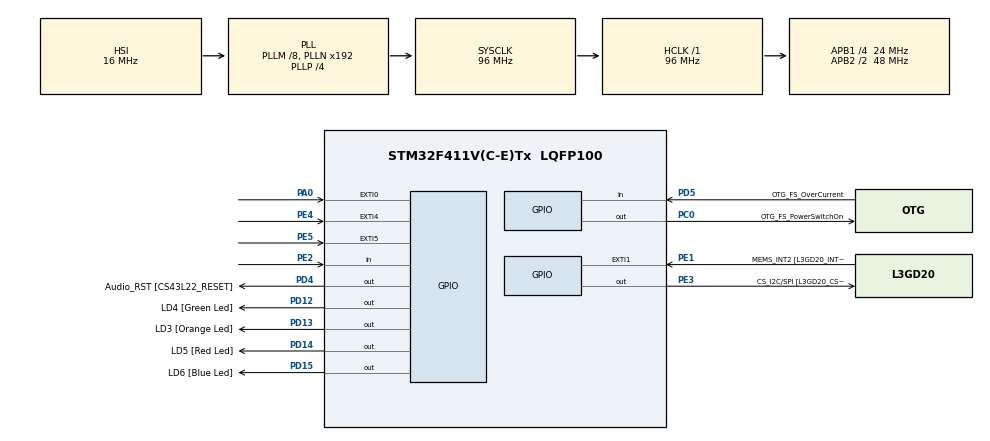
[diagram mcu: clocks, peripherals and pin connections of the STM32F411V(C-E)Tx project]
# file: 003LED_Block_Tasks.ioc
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Mcu.Family=STM32F4
Mcu.Name=STM32F411V(C-E)Tx
Mcu.Package=LQFP100
NVIC.PriorityGroup=NVIC_PRIORITYGROUP_4
NVIC.TIM5_IRQn=true\:0\:0\:false\:false\:true\:false\:true\:true
NVIC.TimeBase=TIM5_IRQn
NVIC.TimeBaseIP=TIM5
PA0-WKUP.GPIO_ModeDefaultEXTI=GPIO_MODE_EVT_RISING
PA0-WKUP.Signal=GPXTI0
PA10.GPIO_Label=OTG_FS_ID
PA10.Signal=USB_OTG_FS_ID
PA11.GPIO_Label=OTG_FS_DM
PA11.Signal=USB_OTG_FS_DM
PA12.GPIO_Label=OTG_FS_DP
PA12.Signal=USB_OTG_FS_DP
PA13.GPIO_Label=SWDIO
PA13.Signal=SYS_JTMS-SWDIO
PA14.GPIO_Label=SWCLK
PA14.Signal=SYS_JTCK-SWCLK
PA4.GPIO_Label=I2S3_WS [CS43L22_LRCK]
PA4.GPIO_Mode=GPIO_MODE_AF_PP
PA4.GPIO_PuPd=GPIO_NOPULL
PA4.GPIO_Speed=GPIO_SPEED_FREQ_LOW
PA4.Signal=I2S3_WS
PA5.GPIO_Label=SPI1_SCK [L3GD20_SC/SPC]
PA5.Signal=SPI1_SCK
PA6.GPIO_Label=SPI1_MISO [L3GD20_AS0/SDO]
PA6.Signal=SPI1_MISO
PA7.GPIO_Label=SPI1_MOSI [L3GD20_SDA/SDI/SDO]
PA7.Signal=SPI1_MOSI
PA9.GPIO_Label=VBUS_FS
PA9.Signal=USB_OTG_FS_VBUS
PB10.GPIO_Label=CLK_IN [MP45DT02_CLK]
PB10.Signal=I2S2_CK
PB12.Signal=I2S2_WS
PB3.GPIO_Label=SWO
PB3.Signal=SYS_JTDO-SWO
PB6.GPIO_Label=Audio_SCL [CS43L22_SCL]
PB6.GPIO_Mode=GPIO_MODE_AF_OD
PB6.GPIO_PuPd=GPIO_NOPULL
PB6.GPIO_Speed=GPIO_SPEED_FREQ_LOW
PB6.Signal=I2C1_SCL
PB9.GPIO_Label=Audio_SDA [CS43L22_SDA]
PB9.GPIO_Mode=GPIO_MODE_AF_OD
PB9.GPIO_PuPd=GPIO_NOPULL
PB9.GPIO_Speed=GPIO_SPEED_FREQ_LOW
PB9.Signal=I2C1_SDA
PC0.GPIO_Label=OTG_FS_PowerSwitchOn
PC0.PinState=GPIO_PIN_SET
PC0.Signal=GPIO_Output
PC10.GPIO_Label=I2S3_SCK [CS43L22_SCLK]
PC10.GPIO_Mode=GPIO_MODE_AF_PP
PC10.GPIO_PuPd=GPIO_NOPULL
PC10.GPIO_Speed=GPIO_SPEED_FREQ_LOW
PC10.Signal=I2S3_CK
PC12.GPIO_Label=I2S3_SD [CS43L22_SDIN]
PC12.GPIO_Mode=GPIO_MODE_AF_PP
PC12.GPIO_PuPd=GPIO_NOPULL
PC12.GPIO_Speed=GPIO_SPEED_FREQ_LOW
PC12.Signal=I2S3_SD
PC14-OSC32_IN.GPIO_Label=PC14-OSC32_IN
PC14-OSC32_IN.Signal=RCC_OSC32_IN
PC15-OSC32_OUT.GPIO_Label=PC15-OSC32_OUT
PC15-OSC32_OUT.Signal=RCC_OSC32_OUT
PC3.GPIO_Label=PDM_OUT [MP45DT02_DOUT]
PC3.Signal=I2S2_SD
PC7.GPIO_Label=I2S3_MCK [CS43L22_MCLK]
PC7.GPIO_Mode=GPIO_MODE_AF_PP
PC7.GPIO_PuPd=GPIO_NOPULL
PC7.GPIO_Speed=GPIO_SPEED_FREQ_LOW
PC7.Signal=I2S3_MCK
PD12.GPIO_Label=LD4 [Green Led]
PD12.GPIO_PuPd=GPIO_NOPULL
PD12.GPIO_Speed=GPIO_SPEED_FREQ_LOW
PD12.Signal=GPIO_Output
PD13.GPIO_Label=LD3 [Orange Led]
PD13.GPIO_PuPd=GPIO_NOPULL
PD13.GPIO_Speed=GPIO_SPEED_FREQ_LOW
PD13.Signal=GPIO_Output
PD14.GPIO_Label=LD5 [Red Led]
PD14.GPIO_PuPd=GPIO_NOPULL
PD14.GPIO_Speed=GPIO_SPEED_FREQ_LOW
PD14.Signal=GPIO_Output
PD15.GPIO_Label=LD6 [Blue Led]
PD15.GPIO_PuPd=GPIO_NOPULL
PD15.GPIO_Speed=GPIO_SPEED_FREQ_LOW
PD15.Signal=GPIO_Output
PD4.GPIO_Label=Audio_RST [CS43L22_RESET]
PD4.Signal=GPIO_Output
PD5.GPIO_Label=OTG_FS_OverCurrent
PD5.Signal=GPIO_Input
PE1.GPIO_Label=MEMS_INT2 [L3GD20_INT2]
PE1.GPIO_ModeDefaultEXTI=GPIO_MODE_EVT_RISING
PE1.Signal=GPXTI1
PE2.Signal=GPIO_Input
PE3.GPIO_Label=CS_I2C/SPI [L3GD20_CS_I2C/SPI]
PE3.Signal=GPIO_Output
PE4.GPIO_ModeDefaultEXTI=GPIO_MODE_EVT_RISING
PE4.Signal=GPXTI4
PE5.GPIO_ModeDefaultEXTI=GPIO_MODE_EVT_RISING
PE5.Signal=GPXTI5
PH0\ -\ OSC_IN.GPIO_Label=PH0-OSC_IN
PH0\ -\ OSC_IN.Signal=RCC_OSC_IN
PH1\ -\ OSC_OUT.GPIO_Label=PH1-OSC_OUT
PH1\ -\ OSC_OUT.Signal=RCC_OSC_OUT
ProjectManager.HeapSize=0x200
ProjectManager.StackSize=0x400
ProjectManager.TargetToolchain=STM32CubeIDE
RCC.48MHZClocksFreq_Value=48000000
RCC.AHBFreq_Value=96000000
RCC.APB1CLKDivider=RCC_HCLK_DIV4
RCC.APB1Freq_Value=24000000
RCC.APB1TimFreq_Value=48000000
RCC.APB2CLKDivider=RCC_HCLK_DIV2
RCC.APB2Freq_Value=48000000
RCC.APB2TimFreq_Value=96000000
RCC.CortexFreq_Value=96000000
RCC.HCLKFreq_Value=96000000
RCC.HSE_VALUE=8000000
RCC.HSI_VALUE=16000000
RCC.LSE_VALUE=32768
RCC.PLLI2SM=5
RCC.PLLI2SN=200
RCC.PLLM=8
RCC.PLLP=RCC_PLLP_DIV4
RCC.PLLQ=8
RCC.SYSCLKFreq_VALUE=96000000
RCC.SYSCLKSource=RCC_SYSCLKSOURCE_PLLCLK
RCC.VCOOutputFreq_Value=384000000
VP_SYS_VS_tim5.Mode=TIM5
board=STM32F411E-DISCO

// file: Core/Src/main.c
/* USER CODE BEGIN Header */
/**
  ******************************************************************************
  * @file           : main.c
  * @brief          : Main program body
  ******************************************************************************
  * @attention
  *
  * Copyright (c) 2024 STMicroelectronics.
  * All rights reserved.
  *
  * This software is licensed under terms that can be found in the LICENSE file
  * in the root directory of this software component.
  * If no LICENSE file comes with this software, it is provided AS-IS.
  *
  ******************************************************************************
  */
/* USER CODE END Header */
#include "main.h"

/* USER CODE BEGIN Includes */
#include "FreeRTOS.h"
#include "task.h"
/* USER CODE END Includes */

/* USER CODE BEGIN PV */
#define DWT_CTRL 				(*(volatile uint32_t *)0xE0001000)
/* USER CODE END PV */

void SystemClock_Config(void);
static void MX_GPIO_Init(void);

/* USER CODE BEGIN 0 */
static void task1_handler(void *parameters);
static void task2_handler(void *parameters);
static void task3_handler(void *parameters);
/* USER CODE END 0 */

int main(void)
{

  /* USER CODE BEGIN 1 */
  TaskHandle_t task1_h;
  TaskHandle_t task2_h;
  TaskHandle_t task3_h;
  BaseType_t status;
  /* USER CODE END 1 */

  /* MCU Configuration--------------------------------------------------------*/

  /* Reset of all peripherals, Initializes the Flash interface and the Systick. */
  HAL_Init();

  /* Configure the system clock */
  SystemClock_Config();

  /* Initialize all configured peripherals */
  MX_GPIO_Init();
  /* USER CODE BEGIN 2 */

  /* SEGGER LOGS Configurations */
  DWT_CTRL |= ( 1 << 0 );	// Enable the CyCCNT counter
  SEGGER_SYSVIEW_Conf();
  SEGGER_SYSVIEW_Start();	// Single-shot viewer
  /* End of EGGER LOGS Configurations */

  /* Tasks Creation */
  status = xTaskCreate(task1_handler, "LED-Green-Task", 200, NULL, 2, &task1_h);
  configASSERT(status == pdPASS);
  status = xTaskCreate(task2_handler, "LED-Red-Task", 200, NULL, 2, &task2_h);
  configASSERT(status == pdPASS);
  status = xTaskCreate(task3_handler, "LED-Orange-Task", 200, NULL, 2, &task3_h);
  configASSERT(status == pdPASS);
  /* End of Tasks Creation */

  /* Start Scheduler */
  vTaskStartScheduler();
  /* End of Start Scheduler */

  /* USER CODE END 2 */

  /* Infinite loop */
  while (1)
  {

  }
}

void SystemClock_Config(void)
{
  RCC_OscInitTypeDef RCC_OscInitStruct = {0};
  RCC_ClkInitTypeDef RCC_ClkInitStruct = {0};

  /** Configure the main internal regulator output voltage
  */
  __HAL_RCC_PWR_CLK_ENABLE();
  __HAL_PWR_VOLTAGESCALING_CONFIG(PWR_REGULATOR_VOLTAGE_SCALE1);

  /** Initializes the RCC Oscillators according to the specified parameters
  * in the RCC_OscInitTypeDef structure.
  */
  RCC_OscInitStruct.OscillatorType = RCC_OSCILLATORTYPE_HSI;
  RCC_OscInitStruct.HSIState = RCC_HSI_ON;
  RCC_OscInitStruct.HSICalibrationValue = RCC_HSICALIBRATION_DEFAULT;
  RCC_OscInitStruct.PLL.PLLState = RCC_PLL_ON;
  RCC_OscInitStruct.PLL.PLLSource = RCC_PLLSOURCE_HSI;
  RCC_OscInitStruct.PLL.PLLM = 8;
  RCC_OscInitStruct.PLL.PLLN = 192;
  RCC_OscInitStruct.PLL.PLLP = RCC_PLLP_DIV4;
  RCC_OscInitStruct.PLL.PLLQ = 8;
  if (HAL_RCC_OscConfig(&RCC_OscInitStruct) != HAL_OK)
  {
    Error_Handler();
  }

  /** Initializes the CPU, AHB and APB buses clocks
  */
  RCC_ClkInitStruct.ClockType = RCC_CLOCKTYPE_HCLK|RCC_CLOCKTYPE_SYSCLK
                              |RCC_CLOCKTYPE_PCLK1|RCC_CLOCKTYPE_PCLK2;
  RCC_ClkInitStruct.SYSCLKSource = RCC_SYSCLKSOURCE_PLLCLK;
  RCC_ClkInitStruct.AHBCLKDivider = RCC_SYSCLK_DIV1;
  RCC_ClkInitStruct.APB1CLKDivider = RCC_HCLK_DIV4;
  RCC_ClkInitStruct.APB2CLKDivider = RCC_HCLK_DIV2;

  if (HAL_RCC_ClockConfig(&RCC_ClkInitStruct, FLASH_LATENCY_3) != HAL_OK)
  {
    Error_Handler();
  }
}

static void MX_GPIO_Init(void)
{
  GPIO_InitTypeDef GPIO_InitStruct = {0};

  /* GPIO Ports Clock Enable */
  __HAL_RCC_GPIOE_CLK_ENABLE();
  __HAL_RCC_GPIOC_CLK_ENABLE();
  __HAL_RCC_GPIOH_CLK_ENABLE();
  __HAL_RCC_GPIOA_CLK_ENABLE();
  __HAL_RCC_GPIOB_CLK_ENABLE();
  __HAL_RCC_GPIOD_CLK_ENABLE();

  /*Configure GPIO pin Output Level */
  HAL_GPIO_WritePin(CS_I2C_SPI_GPIO_Port, CS_I2C_SPI_Pin, GPIO_PIN_RESET);

  /*Configure GPIO pin Output Level */
  HAL_GPIO_WritePin(OTG_FS_PowerSwitchOn_GPIO_Port, OTG_FS_PowerSwitchOn_Pin, GPIO_PIN_SET);

  /*Configure GPIO pin Output Level */
  HAL_GPIO_WritePin(GPIOD, LD4_Pin|LD3_Pin|LD5_Pin|LD6_Pin
                          |Audio_RST_Pin, GPIO_PIN_RESET);

  /*Configure GPIO pin : PE2 */
  GPIO_InitStruct.Pin = GPIO_PIN_2;
  GPIO_InitStruct.Mode = GPIO_MODE_INPUT;
  GPIO_InitStruct.Pull = GPIO_NOPULL;
  HAL_GPIO_Init(GPIOE, &GPIO_InitStruct);

  /*Configure GPIO pin : CS_I2C_SPI_Pin */
  GPIO_InitStruct.Pin = CS_I2C_SPI_Pin;
  GPIO_InitStruct.Mode = GPIO_MODE_OUTPUT_PP;
  GPIO_InitStruct.Pull = GPIO_NOPULL;
  GPIO_InitStruct.Speed = GPIO_SPEED_FREQ_LOW;
  HAL_GPIO_Init(CS_I2C_SPI_GPIO_Port, &GPIO_InitStruct);

  /*Configure GPIO pins : PE4 PE5 MEMS_INT2_Pin */
  GPIO_InitStruct.Pin = GPIO_PIN_4|GPIO_PIN_5|MEMS_INT2_Pin;
  GPIO_InitStruct.Mode = GPIO_MODE_EVT_RISING;
  GPIO_InitStruct.Pull = GPIO_NOPULL;
  HAL_GPIO_Init(GPIOE, &GPIO_InitStruct);

  /*Configure GPIO pin : OTG_FS_PowerSwitchOn_Pin */
  GPIO_InitStruct.Pin = OTG_FS_PowerSwitchOn_Pin;
  GPIO_InitStruct.Mode = GPIO_MODE_OUTPUT_PP;
  GPIO_InitStruct.Pull = GPIO_NOPULL;
  GPIO_InitStruct.Speed = GPIO_SPEED_FREQ_LOW;
  HAL_GPIO_Init(OTG_FS_PowerSwitchOn_GPIO_Port, &GPIO_InitStruct);

  /*Configure GPIO pin : PDM_OUT_Pin */
  GPIO_InitStruct.Pin = PDM_OUT_Pin;
  GPIO_InitStruct.Mode = GPIO_MODE_AF_PP;
  GPIO_InitStruct.Pull = GPIO_NOPULL;
  GPIO_InitStruct.Speed = GPIO_SPEED_FREQ_LOW;
  GPIO_InitStruct.Alternate = GPIO_AF5_SPI2;
  HAL_GPIO_Init(PDM_OUT_GPIO_Port, &GPIO_InitStruct);

  /*Configure GPIO pin : PA0 */
  GPIO_InitStruct.Pin = GPIO_PIN_0;
  GPIO_InitStruct.Mode = GPIO_MODE_EVT_RISING;
  GPIO_InitStruct.Pull = GPIO_NOPULL;
  HAL_GPIO_Init(GPIOA, &GPIO_InitStruct);

  /*Configure GPIO pin : I2S3_WS_Pin */
  GPIO_InitStruct.Pin = I2S3_WS_Pin;
  GPIO_InitStruct.Mode = GPIO_MODE_AF_PP;
  GPIO_InitStruct.Pull = GPIO_NOPULL;
  GPIO_InitStruct.Speed = GPIO_SPEED_FREQ_LOW;
  GPIO_InitStruct.Alternate = GPIO_AF6_SPI3;
  HAL_GPIO_Init(I2S3_WS_GPIO_Port, &GPIO_InitStruct);

  /*Configure GPIO pins : SPI1_SCK_Pin SPI1_MISO_Pin SPI1_MOSI_Pin */
  GPIO_InitStruct.Pin = SPI1_SCK_Pin|SPI1_MISO_Pin|SPI1_MOSI_Pin;
  GPIO_InitStruct.Mode = GPIO_MODE_AF_PP;
  GPIO_InitStruct.Pull = GPIO_NOPULL;
  GPIO_InitStruct.Speed = GPIO_SPEED_FREQ_VERY_HIGH;
  GPIO_InitStruct.Alternate = GPIO_AF5_SPI1;
  HAL_GPIO_Init(GPIOA, &GPIO_InitStruct);

  /*Configure GPIO pins : CLK_IN_Pin PB12 */
  GPIO_InitStruct.Pin = CLK_IN_Pin|GPIO_PIN_12;
  GPIO_InitStruct.Mode = GPIO_MODE_AF_PP;
  GPIO_InitStruct.Pull = GPIO_NOPULL;
  GPIO_InitStruct.Speed = GPIO_SPEED_FREQ_LOW;
  GPIO_InitStruct.Alternate = GPIO_AF5_SPI2;
  HAL_GPIO_Init(GPIOB, &GPIO_InitStruct);

  /*Configure GPIO pins : LD4_Pin LD3_Pin LD5_Pin LD6_Pin
                           Audio_RST_Pin */
  GPIO_InitStruct.Pin = LD4_Pin|LD3_Pin|LD5_Pin|LD6_Pin
                          |Audio_RST_Pin;
  GPIO_InitStruct.Mode = GPIO_MODE_OUTPUT_PP;
  GPIO_InitStruct.Pull = GPIO_NOPULL;
  GPIO_InitStruct.Speed = GPIO_SPEED_FREQ_LOW;
  HAL_GPIO_Init(GPIOD, &GPIO_InitStruct);

  /*Configure GPIO pins : I2S3_MCK_Pin I2S3_SCK_Pin I2S3_SD_Pin */
  GPIO_InitStruct.Pin = I2S3_MCK_Pin|I2S3_SCK_Pin|I2S3_SD_Pin;
  GPIO_InitStruct.Mode = GPIO_MODE_AF_PP;
  GPIO_InitStruct.Pull = GPIO_NOPULL;
  GPIO_InitStruct.Speed = GPIO_SPEED_FREQ_LOW;
  GPIO_InitStruct.Alternate = GPIO_AF6_SPI3;
  HAL_GPIO_Init(GPIOC, &GPIO_InitStruct);

  /*Configure GPIO pin : VBUS_FS_Pin */
  GPIO_InitStruct.Pin = VBUS_FS_Pin;
  GPIO_InitStruct.Mode = GPIO_MODE_INPUT;
  GPIO_InitStruct.Pull = GPIO_NOPULL;
  HAL_GPIO_Init(VBUS_FS_GPIO_Port, &GPIO_InitStruct);

  /*Configure GPIO pins : OTG_FS_ID_Pin OTG_FS_DM_Pin OTG_FS_DP_Pin */
  GPIO_InitStruct.Pin = OTG_FS_ID_Pin|OTG_FS_DM_Pin|OTG_FS_DP_Pin;
  GPIO_InitStruct.Mode = GPIO_MODE_AF_PP;
  GPIO_InitStruct.Pull = GPIO_NOPULL;
  GPIO_InitStruct.Speed = GPIO_SPEED_FREQ_VERY_HIGH;
  GPIO_InitStruct.Alternate = GPIO_AF10_OTG_FS;
  HAL_GPIO_Init(GPIOA, &GPIO_InitStruct);

  /*Configure GPIO pin : OTG_FS_OverCurrent_Pin */
  GPIO_InitStruct.Pin = OTG_FS_OverCurrent_Pin;
  GPIO_InitStruct.Mode = GPIO_MODE_INPUT;
  GPIO_InitStruct.Pull = GPIO_NOPULL;
  HAL_GPIO_Init(OTG_FS_OverCurrent_GPIO_Port, &GPIO_InitStruct);

  /*Configure GPIO pins : Audio_SCL_Pin Audio_SDA_Pin */
  GPIO_InitStruct.Pin = Audio_SCL_Pin|Audio_SDA_Pin;
  GPIO_InitStruct.Mode = GPIO_MODE_AF_OD;
  GPIO_InitStruct.Pull = GPIO_NOPULL;
  GPIO_InitStruct.Speed = GPIO_SPEED_FREQ_LOW;
  GPIO_InitStruct.Alternate = GPIO_AF4_I2C1;
  HAL_GPIO_Init(GPIOB, &GPIO_InitStruct);

}

/* USER CODE BEGIN 4 */
static void task1_handler(void *parameters)
{

	while(1)
	{

		HAL_GPIO_TogglePin(LD3_GPIO_Port, LD3_Pin);
		vTaskDelay(pdMS_TO_TICKS(1000));

	}

}

static void task2_handler(void *parameters)
{

	while(1)
	{

		HAL_GPIO_TogglePin(LD4_GPIO_Port, LD4_Pin);
		vTaskDelay(pdMS_TO_TICKS(800));

	}

}

static void task3_handler(void *parameters)
{

	while(1)
	{

		HAL_GPIO_TogglePin(LD5_GPIO_Port, LD5_Pin);
		vTaskDelay(pdMS_TO_TICKS(400));

	}

}
/* USER CODE END 4 */

void HAL_TIM_PeriodElapsedCallback(TIM_HandleTypeDef *htim)
{
  if (htim->Instance == TIM5) {
    HAL_IncTick();
  }
}

void Error_Handler(void)
{
  __disable_irq();
  while (1)
  {
  }
}
